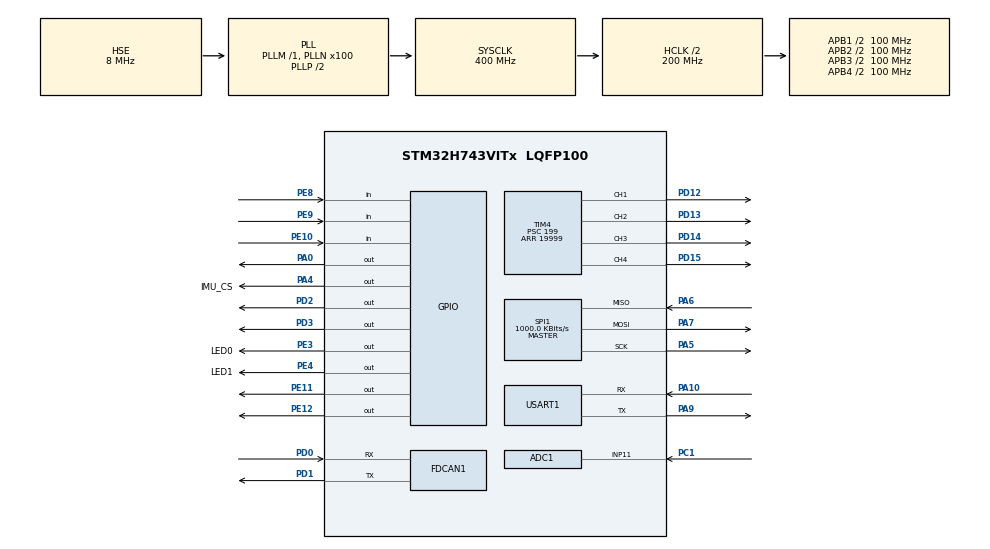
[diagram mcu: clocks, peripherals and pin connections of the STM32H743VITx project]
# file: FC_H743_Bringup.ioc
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ADC1.Channel-0\#ChannelRegularConversion=ADC_CHANNEL_11
ADC1.ClockPrescaler=ADC_CLOCK_ASYNC_DIV1
ADC1.NbrOfConversionFlag=1
ADC1.OffsetNumber-0\#ChannelRegularConversion=ADC_OFFSET_NONE
ADC1.OffsetSignedSaturation-0\#ChannelRegularConversion=DISABLE
ADC1.Rank-0\#ChannelRegularConversion=1
ADC1.SamplingTime-0\#ChannelRegularConversion=ADC_SAMPLETIME_1CYCLE_5
ADC1.master=1
CORTEX_M7.default_mode_Activation=1
FDCAN1.AutoRetransmission=ENABLE
FDCAN1.CalculateBaudRateNominal=1000000
FDCAN1.CalculateTimeBitNominal=1000
FDCAN1.CalculateTimeQuantumNominal=125.0
FDCAN1.DataTimeSeg1=7
FDCAN1.DataTimeSeg2=2
FDCAN1.Mode=FDCAN_MODE_EXTERNAL_LOOPBACK
FDCAN1.NominalPrescaler=1
FDCAN1.NominalSyncJumpWidth=2
FDCAN1.NominalTimeSeg1=5
FDCAN1.NominalTimeSeg2=2
FDCAN1.RxFifo0ElmtsNbr=4
FDCAN1.StdFiltersNbr=1
FDCAN1.TxFifoQueueElmtsNbr=4
Mcu.Family=STM32H7
Mcu.Name=STM32H743VITx
Mcu.Package=LQFP100
NVIC.PriorityGroup=NVIC_PRIORITYGROUP_4
PA0.GPIO_Speed=GPIO_SPEED_FREQ_HIGH
PA0.PinState=GPIO_PIN_SET
PA0.Signal=GPIO_Output
PA10.Mode=Asynchronous
PA10.Signal=USART1_RX
PA13\ (JTMS/SWDIO).Mode=Serial_Wire
PA13\ (JTMS/SWDIO).Signal=DEBUG_JTMS-SWDIO
PA14\ (JTCK/SWCLK).Mode=Serial_Wire
PA14\ (JTCK/SWCLK).Signal=DEBUG_JTCK-SWCLK
PA4.GPIO_Label=IMU_CS
PA4.PinState=GPIO_PIN_SET
PA4.Signal=GPIO_Output
PA5.Mode=Full_Duplex_Master
PA5.Signal=SPI1_SCK
PA6.Mode=Full_Duplex_Master
PA6.Signal=SPI1_MISO
PA7.Mode=Full_Duplex_Master
PA7.Signal=SPI1_MOSI
PA9.Mode=Asynchronous
PA9.Signal=USART1_TX
PC1.Signal=ADCx_INP11
PD0.Mode=FDCAN_Activate
PD0.Signal=FDCAN1_RX
PD1.Mode=FDCAN_Activate
PD1.Signal=FDCAN1_TX
PD12.Signal=S_TIM4_CH1
PD13.Signal=S_TIM4_CH2
PD14.Signal=S_TIM4_CH3
PD15.Signal=S_TIM4_CH4
PD2.Signal=GPIO_Output
PD3.Signal=GPIO_Output
PE10.GPIO_PuPd=GPIO_PULLUP
PE10.Signal=GPIO_Input
PE11.PinState=GPIO_PIN_SET
PE11.Signal=GPIO_Output
PE12.GPIO_Speed=GPIO_SPEED_FREQ_HIGH
PE12.Signal=GPIO_Output
PE3.GPIO_Label=LED0
PE3.Signal=GPIO_Output
PE4.GPIO_Label=LED1
PE4.Signal=GPIO_Output
PE8.GPIO_PuPd=GPIO_PULLUP
PE8.Signal=GPIO_Input
PE9.GPIO_PuPd=GPIO_PULLUP
PE9.Signal=GPIO_Input
PH0-OSC_IN\ (PH0).Mode=HSE-External-Oscillator
PH0-OSC_IN\ (PH0).Signal=RCC_OSC_IN
PH1-OSC_OUT\ (PH1).Mode=HSE-External-Oscillator
PH1-OSC_OUT\ (PH1).Signal=RCC_OSC_OUT
ProjectManager.HeapSize=0x200
ProjectManager.StackSize=0x400
ProjectManager.TargetToolchain=MDK-ARM V5.32
RCC.ADCFreq_Value=20000000
RCC.APB1Freq_Value=100000000
RCC.APB2Freq_Value=100000000
RCC.APB3Freq_Value=100000000
RCC.APB4Freq_Value=100000000
RCC.CortexFreq_Value=400000000
RCC.D1PPRE=RCC_APB3_DIV2
RCC.D2PPRE1=RCC_APB1_DIV2
RCC.D2PPRE2=RCC_APB2_DIV2
RCC.D3PPRE=RCC_APB4_DIV2
RCC.DIVM1=1
RCC.DIVM2=2
RCC.DIVN1=100
RCC.DIVN2=50
RCC.DIVP2=10
RCC.FDCANCLockSelection=RCC_FDCANCLKSOURCE_HSE
RCC.HCLKFreq_Value=200000000
RCC.HPRE=RCC_HCLK_DIV2
RCC.HSE_VALUE=8000000
RCC.PLLFRACN=0
RCC.PLLSourceVirtual=RCC_PLLSOURCE_HSE
RCC.SPI123CLockSelection=RCC_SPI123CLKSOURCE_CLKP
RCC.SYSCLKFreq_VALUE=400000000
RCC.SYSCLKSource=RCC_SYSCLKSOURCE_PLLCLK
RCC.USBFreq_Value=400000000
SH.ADCx_INP11.0=ADC1_INP11,IN11-Single-Ended
SH.S_TIM4_CH1.0=TIM4_CH1,PWM Generation1 CH1
SH.S_TIM4_CH2.0=TIM4_CH2,PWM Generation2 CH2
SH.S_TIM4_CH3.0=TIM4_CH3,PWM Generation3 CH3
SH.S_TIM4_CH4.0=TIM4_CH4,PWM Generation4 CH4
SPI1.BaudRatePrescaler=SPI_BAUDRATEPRESCALER_64
SPI1.CLKPhase=SPI_PHASE_2EDGE
SPI1.CLKPolarity=SPI_POLARITY_HIGH
SPI1.CalculateBaudRate=1000.0 KBits/s
SPI1.DataSize=SPI_DATASIZE_8BIT
SPI1.Direction=SPI_DIRECTION_2LINES
SPI1.Mode=SPI_MODE_MASTER
SPI1.NSSPMode=SPI_NSS_PULSE_DISABLE
SPI1.VirtualType=VM_MASTER
TIM4.Channel-PWM\ Generation1\ CH1=TIM_CHANNEL_1
TIM4.Channel-PWM\ Generation2\ CH2=TIM_CHANNEL_2
TIM4.Channel-PWM\ Generation3\ CH3=TIM_CHANNEL_3
TIM4.Channel-PWM\ Generation4\ CH4=TIM_CHANNEL_4
TIM4.Period=19999
TIM4.Prescaler=199
USART1.VirtualMode-Asynchronous=VM_ASYNC
VP_MEMORYMAP_VS_MEMORYMAP.Mode=CurAppReg
VP_TIM4_VS_ClockSourceINT.Mode=Internal
board=custom

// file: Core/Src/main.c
/* USER CODE BEGIN Header */
/**
  ******************************************************************************
  * @file           : main.c
  * @brief          : Main program body
  ******************************************************************************
  * @attention
  *
  * Copyright (c) 2026 STMicroelectronics.
  * All rights reserved.
  *
  * This software is licensed under terms that can be found in the LICENSE file
  * in the root directory of this software component.
  * If no LICENSE file comes with this software, it is provided AS-IS.
  *
  ******************************************************************************
  */
/* USER CODE END Header */
#include "main.h"
#include "adc.h"
#include "fdcan.h"
#include "spi.h"
#include "tim.h"
#include "usart.h"
#include "gpio.h"

/* USER CODE BEGIN Includes */
#include "test_suite.h"
/* USER CODE END Includes */

void SystemClock_Config(void);
void PeriphCommonClock_Config(void);
static void MPU_Config(void);

int main(void)
{

  /* MPU Configuration--------------------------------------------------------*/
  MPU_Config();

  /* MCU Configuration--------------------------------------------------------*/

  /* Reset of all peripherals, Initializes the Flash interface and the Systick. */
  HAL_Init();

  /* Configure the system clock */
  SystemClock_Config();

  /* Configure the peripherals common clocks */
  PeriphCommonClock_Config();

  /* Initialize all configured peripherals */
  MX_GPIO_Init();
  MX_USART1_UART_Init();
  MX_SPI1_Init();
  MX_ADC1_Init();
  MX_TIM4_Init();
  MX_FDCAN1_Init();
  /* USER CODE BEGIN 2 */
#if defined(TEST_CASE_BLINK_LED)
      Run_Test_Blink_Led();
  #elif defined(TEST_CASE_UART)
      Run_Test_Uart();
  #elif defined(TEST_CASE_IMU)
      Run_Test_Imu();
  #elif defined(TEST_CASE_VBAT_ADC)
      Run_Test_Vbat_Adc();
  #elif defined(TEST_CASE_MOTOR_PWM)
      Run_Test_Motor_Pwm();
  #elif defined(TEST_CASE_SDCARD)
      Run_Test_Sdcard();
  #elif defined(TEST_CASE_FDCAN)
      Run_Test_Fdcan();
  #endif
  /* USER CODE END 2 */

  /* Infinite loop */
  while (1)
  {

  }
}

void SystemClock_Config(void)
{
  RCC_OscInitTypeDef RCC_OscInitStruct = {0};
  RCC_ClkInitTypeDef RCC_ClkInitStruct = {0};

  /** Supply configuration update enable
  */
  HAL_PWREx_ConfigSupply(PWR_LDO_SUPPLY);

  /** Configure the main internal regulator output voltage
  */
  __HAL_PWR_VOLTAGESCALING_CONFIG(PWR_REGULATOR_VOLTAGE_SCALE1);

  while(!__HAL_PWR_GET_FLAG(PWR_FLAG_VOSRDY)) {}

  /** Initializes the RCC Oscillators according to the specified parameters
  * in the RCC_OscInitTypeDef structure.
  */
  RCC_OscInitStruct.OscillatorType = RCC_OSCILLATORTYPE_HSI|RCC_OSCILLATORTYPE_HSE;
  RCC_OscInitStruct.HSEState = RCC_HSE_ON;
  RCC_OscInitStruct.HSIState = RCC_HSI_DIV1;
  RCC_OscInitStruct.HSICalibrationValue = RCC_HSICALIBRATION_DEFAULT;
  RCC_OscInitStruct.PLL.PLLState = RCC_PLL_ON;
  RCC_OscInitStruct.PLL.PLLSource = RCC_PLLSOURCE_HSE;
  RCC_OscInitStruct.PLL.PLLM = 1;
  RCC_OscInitStruct.PLL.PLLN = 100;
  RCC_OscInitStruct.PLL.PLLP = 2;
  RCC_OscInitStruct.PLL.PLLQ = 2;
  RCC_OscInitStruct.PLL.PLLR = 2;
  RCC_OscInitStruct.PLL.PLLRGE = RCC_PLL1VCIRANGE_3;
  RCC_OscInitStruct.PLL.PLLVCOSEL = RCC_PLL1VCOWIDE;
  RCC_OscInitStruct.PLL.PLLFRACN = 0;
  if (HAL_RCC_OscConfig(&RCC_OscInitStruct) != HAL_OK)
  {
    Error_Handler();
  }

  /** Initializes the CPU, AHB and APB buses clocks
  */
  RCC_ClkInitStruct.ClockType = RCC_CLOCKTYPE_HCLK|RCC_CLOCKTYPE_SYSCLK
                              |RCC_CLOCKTYPE_PCLK1|RCC_CLOCKTYPE_PCLK2
                              |RCC_CLOCKTYPE_D3PCLK1|RCC_CLOCKTYPE_D1PCLK1;
  RCC_ClkInitStruct.SYSCLKSource = RCC_SYSCLKSOURCE_PLLCLK;
  RCC_ClkInitStruct.SYSCLKDivider = RCC_SYSCLK_DIV1;
  RCC_ClkInitStruct.AHBCLKDivider = RCC_HCLK_DIV2;
  RCC_ClkInitStruct.APB3CLKDivider = RCC_APB3_DIV2;
  RCC_ClkInitStruct.APB1CLKDivider = RCC_APB1_DIV2;
  RCC_ClkInitStruct.APB2CLKDivider = RCC_APB2_DIV2;
  RCC_ClkInitStruct.APB4CLKDivider = RCC_APB4_DIV2;

  if (HAL_RCC_ClockConfig(&RCC_ClkInitStruct, FLASH_LATENCY_2) != HAL_OK)
  {
    Error_Handler();
  }
}

void PeriphCommonClock_Config(void)
{
  RCC_PeriphCLKInitTypeDef PeriphClkInitStruct = {0};

  /** Initializes the peripherals clock
  */
  PeriphClkInitStruct.PeriphClockSelection = RCC_PERIPHCLK_CKPER;
  PeriphClkInitStruct.CkperClockSelection = RCC_CLKPSOURCE_HSI;
  if (HAL_RCCEx_PeriphCLKConfig(&PeriphClkInitStruct) != HAL_OK)
  {
    Error_Handler();
  }
}

 /* MPU Configuration */

void MPU_Config(void)
{
  MPU_Region_InitTypeDef MPU_InitStruct = {0};

  /* Disables the MPU */
  HAL_MPU_Disable();

  /** Initializes and configures the Region and the memory to be protected
  */
  MPU_InitStruct.Enable = MPU_REGION_ENABLE;
  MPU_InitStruct.Number = MPU_REGION_NUMBER0;
  MPU_InitStruct.BaseAddress = 0x0;
  MPU_InitStruct.Size = MPU_REGION_SIZE_4GB;
  MPU_InitStruct.SubRegionDisable = 0x87;
  MPU_InitStruct.TypeExtField = MPU_TEX_LEVEL0;
  MPU_InitStruct.AccessPermission = MPU_REGION_NO_ACCESS;
  MPU_InitStruct.DisableExec = MPU_INSTRUCTION_ACCESS_DISABLE;
  MPU_InitStruct.IsShareable = MPU_ACCESS_SHAREABLE;
  MPU_InitStruct.IsCacheable = MPU_ACCESS_NOT_CACHEABLE;
  MPU_InitStruct.IsBufferable = MPU_ACCESS_NOT_BUFFERABLE;

  HAL_MPU_ConfigRegion(&MPU_InitStruct);
  /* Enables the MPU */
  HAL_MPU_Enable(MPU_PRIVILEGED_DEFAULT);

}

void Error_Handler(void)
{
  __disable_irq();
  while (1)
  {
  }
}
